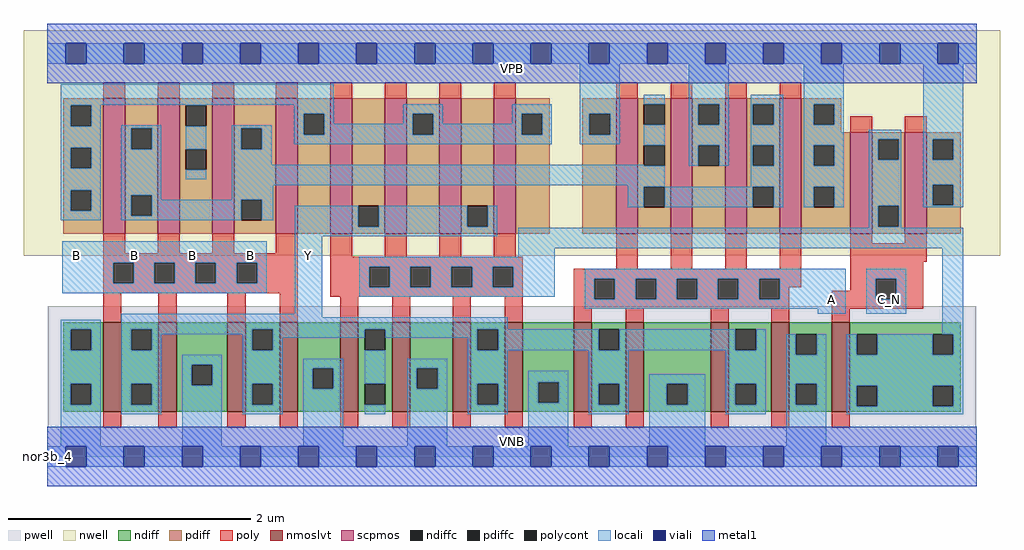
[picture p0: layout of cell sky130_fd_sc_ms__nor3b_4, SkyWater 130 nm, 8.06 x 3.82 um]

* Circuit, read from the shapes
.subckt sky130_fd_sc_ms__nor3b_4 A B C_N VGND VNB VPB VPWR Y
XM1 Y B VGND VNB sky130_fd_pr__nfet_01v8_lvt w=0.74 l=0.15 m=4
XM2 Y n1 VGND VNB sky130_fd_pr__nfet_01v8_lvt w=0.74 l=0.15 m=4
XM3 Y A VGND VNB sky130_fd_pr__nfet_01v8_lvt w=0.74 l=0.15 m=4
XM4 n1 C_N VGND VNB sky130_fd_pr__nfet_01v8_lvt w=0.74 l=0.15
XM5 n2 B n3 VPB sky130_fd_pr__pfet_01v8 w=1.12 l=0.18 m=4
XM6 Y n1 n3 VPB sky130_fd_pr__pfet_01v8 w=1.12 l=0.18 m=4
XM7 n2 A VPWR VPB sky130_fd_pr__pfet_01v8 w=1.12 l=0.18 m=4
XM8 n1 C_N VPWR VPB sky130_fd_pr__pfet_01v8 w=0.84 l=0.18 m=2
.ends

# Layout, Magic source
magic
tech sky130A
magscale 1 2
<< nwell >>
rect -38 332 1574 704
<< pwell >>
rect 1 49 1535 248
rect 0 0 1536 49
<< scpmos >>
rect 93 368 129 592
rect 183 368 219 592
rect 273 368 309 592
rect 378 368 414 592
rect 468 368 504 592
rect 558 368 594 592
rect 648 368 684 592
rect 738 368 774 592
rect 940 368 976 592
rect 1030 368 1066 592
rect 1120 368 1156 592
rect 1210 368 1246 592
rect 1327 368 1363 536
rect 1417 368 1453 536
<< nmoslvt >>
rect 93 74 123 222
rect 184 74 214 222
rect 298 74 328 222
rect 384 74 414 222
rect 484 74 514 222
rect 570 74 600 222
rect 670 74 700 222
rect 756 74 786 222
rect 870 74 900 222
rect 956 74 986 222
rect 1096 74 1126 222
rect 1196 74 1226 222
rect 1296 74 1326 222
<< ndiff >>
rect 27 210 93 222
rect 27 176 39 210
rect 73 176 93 210
rect 27 120 93 176
rect 27 86 39 120
rect 73 86 93 120
rect 27 74 93 86
rect 123 210 184 222
rect 123 176 139 210
rect 173 176 184 210
rect 123 120 184 176
rect 123 86 139 120
rect 173 86 184 120
rect 123 74 184 86
rect 214 152 298 222
rect 214 118 239 152
rect 273 118 298 152
rect 214 74 298 118
rect 328 210 384 222
rect 328 176 339 210
rect 373 176 384 210
rect 328 120 384 176
rect 328 86 339 120
rect 373 86 384 120
rect 328 74 384 86
rect 414 146 484 222
rect 414 112 439 146
rect 473 112 484 146
rect 414 74 484 112
rect 514 210 570 222
rect 514 176 525 210
rect 559 176 570 210
rect 514 120 570 176
rect 514 86 525 120
rect 559 86 570 120
rect 514 74 570 86
rect 600 146 670 222
rect 600 112 611 146
rect 645 112 670 146
rect 600 74 670 112
rect 700 210 756 222
rect 700 176 711 210
rect 745 176 756 210
rect 700 120 756 176
rect 700 86 711 120
rect 745 86 756 120
rect 700 74 756 86
rect 786 123 870 222
rect 786 89 811 123
rect 845 89 870 123
rect 786 74 870 89
rect 900 210 956 222
rect 900 176 911 210
rect 945 176 956 210
rect 900 120 956 176
rect 900 86 911 120
rect 945 86 956 120
rect 900 74 956 86
rect 986 120 1096 222
rect 986 86 1024 120
rect 1058 86 1096 120
rect 986 74 1096 86
rect 1126 210 1196 222
rect 1126 176 1137 210
rect 1171 176 1196 210
rect 1126 120 1196 176
rect 1126 86 1137 120
rect 1171 86 1196 120
rect 1126 74 1196 86
rect 1226 202 1296 222
rect 1226 168 1237 202
rect 1271 168 1296 202
rect 1226 120 1296 168
rect 1226 86 1237 120
rect 1271 86 1296 120
rect 1226 74 1296 86
rect 1326 202 1509 222
rect 1326 168 1337 202
rect 1371 168 1463 202
rect 1497 168 1509 202
rect 1326 117 1509 168
rect 1326 83 1337 117
rect 1371 83 1463 117
rect 1497 83 1509 117
rect 1326 74 1509 83
<< pdiff >>
rect 27 580 93 592
rect 27 546 39 580
rect 73 546 93 580
rect 27 510 93 546
rect 27 476 39 510
rect 73 476 93 510
rect 27 440 93 476
rect 27 406 39 440
rect 73 406 93 440
rect 27 368 93 406
rect 129 542 183 592
rect 129 508 139 542
rect 173 508 183 542
rect 129 432 183 508
rect 129 398 139 432
rect 173 398 183 432
rect 129 368 183 398
rect 219 580 273 592
rect 219 546 229 580
rect 263 546 273 580
rect 219 508 273 546
rect 219 474 229 508
rect 263 474 273 508
rect 219 368 273 474
rect 309 542 378 592
rect 309 508 321 542
rect 355 508 378 542
rect 309 424 378 508
rect 309 390 321 424
rect 355 390 378 424
rect 309 368 378 390
rect 414 566 468 592
rect 414 532 424 566
rect 458 532 468 566
rect 414 368 468 532
rect 504 414 558 592
rect 504 380 514 414
rect 548 380 558 414
rect 504 368 558 380
rect 594 566 648 592
rect 594 532 604 566
rect 638 532 648 566
rect 594 368 648 532
rect 684 414 738 592
rect 684 380 694 414
rect 728 380 738 414
rect 684 368 738 380
rect 774 566 830 592
rect 774 532 784 566
rect 818 532 830 566
rect 774 368 830 532
rect 884 566 940 592
rect 884 532 896 566
rect 930 532 940 566
rect 884 368 940 532
rect 976 582 1030 592
rect 976 548 986 582
rect 1020 548 1030 582
rect 976 514 1030 548
rect 976 480 986 514
rect 1020 480 1030 514
rect 976 446 1030 480
rect 976 412 986 446
rect 1020 412 1030 446
rect 976 368 1030 412
rect 1066 582 1120 592
rect 1066 548 1076 582
rect 1110 548 1120 582
rect 1066 514 1120 548
rect 1066 480 1076 514
rect 1110 480 1120 514
rect 1066 368 1120 480
rect 1156 582 1210 592
rect 1156 548 1166 582
rect 1200 548 1210 582
rect 1156 514 1210 548
rect 1156 480 1166 514
rect 1200 480 1210 514
rect 1156 446 1210 480
rect 1156 412 1166 446
rect 1200 412 1210 446
rect 1156 368 1210 412
rect 1246 582 1312 592
rect 1246 548 1266 582
rect 1300 548 1312 582
rect 1246 536 1312 548
rect 1246 514 1327 536
rect 1246 480 1266 514
rect 1300 480 1327 514
rect 1246 446 1327 480
rect 1246 412 1266 446
rect 1300 412 1327 446
rect 1246 368 1327 412
rect 1363 524 1417 536
rect 1363 490 1373 524
rect 1407 490 1417 524
rect 1363 414 1417 490
rect 1363 380 1373 414
rect 1407 380 1417 414
rect 1363 368 1417 380
rect 1453 524 1509 536
rect 1453 490 1463 524
rect 1497 490 1509 524
rect 1453 449 1509 490
rect 1453 415 1463 449
rect 1497 415 1509 449
rect 1453 368 1509 415
<< ndiffc >>
rect 39 176 73 210
rect 39 86 73 120
rect 139 176 173 210
rect 139 86 173 120
rect 239 118 273 152
rect 339 176 373 210
rect 339 86 373 120
rect 439 112 473 146
rect 525 176 559 210
rect 525 86 559 120
rect 611 112 645 146
rect 711 176 745 210
rect 711 86 745 120
rect 811 89 845 123
rect 911 176 945 210
rect 911 86 945 120
rect 1024 86 1058 120
rect 1137 176 1171 210
rect 1137 86 1171 120
rect 1237 168 1271 202
rect 1237 86 1271 120
rect 1337 168 1371 202
rect 1463 168 1497 202
rect 1337 83 1371 117
rect 1463 83 1497 117
<< pdiffc >>
rect 39 546 73 580
rect 39 476 73 510
rect 39 406 73 440
rect 139 508 173 542
rect 139 398 173 432
rect 229 546 263 580
rect 229 474 263 508
rect 321 508 355 542
rect 321 390 355 424
rect 424 532 458 566
rect 514 380 548 414
rect 604 532 638 566
rect 694 380 728 414
rect 784 532 818 566
rect 896 532 930 566
rect 986 548 1020 582
rect 986 480 1020 514
rect 986 412 1020 446
rect 1076 548 1110 582
rect 1076 480 1110 514
rect 1166 548 1200 582
rect 1166 480 1200 514
rect 1166 412 1200 446
rect 1266 548 1300 582
rect 1266 480 1300 514
rect 1266 412 1300 446
rect 1373 490 1407 524
rect 1373 380 1407 414
rect 1463 490 1497 524
rect 1463 415 1497 449
<< poly >>
rect 93 592 129 618
rect 183 592 219 618
rect 273 592 309 618
rect 378 592 414 618
rect 468 592 504 618
rect 558 592 594 618
rect 648 592 684 618
rect 738 592 774 618
rect 940 592 976 618
rect 1030 592 1066 618
rect 1120 592 1156 618
rect 1210 592 1246 618
rect 1327 536 1363 562
rect 1417 536 1453 562
rect 93 336 129 368
rect 183 336 219 368
rect 273 336 309 368
rect 378 336 414 368
rect 93 320 414 336
rect 93 286 109 320
rect 143 286 177 320
rect 211 286 245 320
rect 279 286 313 320
rect 347 286 414 320
rect 93 270 414 286
rect 93 222 123 270
rect 184 222 214 270
rect 298 222 328 270
rect 384 222 414 270
rect 468 330 504 368
rect 558 330 594 368
rect 648 330 684 368
rect 738 330 774 368
rect 468 314 786 330
rect 468 280 532 314
rect 566 280 600 314
rect 634 280 668 314
rect 702 280 736 314
rect 770 280 786 314
rect 940 310 976 368
rect 1030 310 1066 368
rect 1120 310 1156 368
rect 1210 310 1246 368
rect 468 264 786 280
rect 484 222 514 264
rect 570 222 600 264
rect 670 222 700 264
rect 756 222 786 264
rect 870 294 1246 310
rect 870 260 904 294
rect 938 260 972 294
rect 1006 260 1040 294
rect 1074 260 1108 294
rect 1142 260 1176 294
rect 1210 280 1246 294
rect 1327 352 1363 368
rect 1417 352 1453 368
rect 1327 322 1453 352
rect 1327 294 1447 322
rect 1210 260 1226 280
rect 1327 274 1369 294
rect 870 244 1226 260
rect 870 222 900 244
rect 956 222 986 244
rect 1096 222 1126 244
rect 1196 222 1226 244
rect 1296 260 1369 274
rect 1403 260 1447 294
rect 1296 244 1447 260
rect 1296 222 1326 244
rect 93 48 123 74
rect 184 48 214 74
rect 298 48 328 74
rect 384 48 414 74
rect 484 48 514 74
rect 570 48 600 74
rect 670 48 700 74
rect 756 48 786 74
rect 870 48 900 74
rect 956 48 986 74
rect 1096 48 1126 74
rect 1196 48 1226 74
rect 1296 48 1326 74
<< polycont >>
rect 109 286 143 320
rect 177 286 211 320
rect 245 286 279 320
rect 313 286 347 320
rect 532 280 566 314
rect 600 280 634 314
rect 668 280 702 314
rect 736 280 770 314
rect 904 260 938 294
rect 972 260 1006 294
rect 1040 260 1074 294
rect 1108 260 1142 294
rect 1176 260 1210 294
rect 1369 260 1403 294
<< locali >>
rect 0 649 31 683
rect 65 649 127 683
rect 161 649 223 683
rect 257 649 319 683
rect 353 649 415 683
rect 449 649 511 683
rect 545 649 607 683
rect 641 649 703 683
rect 737 649 799 683
rect 833 649 895 683
rect 929 649 991 683
rect 1025 649 1087 683
rect 1121 649 1183 683
rect 1217 649 1279 683
rect 1313 649 1375 683
rect 1409 649 1471 683
rect 1505 649 1536 683
rect 23 581 474 615
rect 23 580 89 581
rect 23 546 39 580
rect 73 546 89 580
rect 229 580 263 581
rect 23 510 89 546
rect 23 476 39 510
rect 73 476 89 510
rect 23 440 89 476
rect 23 406 39 440
rect 73 406 89 440
rect 23 390 89 406
rect 123 542 189 547
rect 123 508 139 542
rect 173 508 189 542
rect 123 432 189 508
rect 408 566 474 581
rect 229 508 263 546
rect 229 458 263 474
rect 305 542 371 547
rect 305 508 321 542
rect 355 508 371 542
rect 408 532 424 566
rect 458 550 474 566
rect 588 566 654 582
rect 588 550 604 566
rect 458 532 604 550
rect 638 550 654 566
rect 768 566 834 582
rect 768 550 784 566
rect 638 532 784 550
rect 818 532 834 566
rect 408 516 834 532
rect 880 566 946 649
rect 880 532 896 566
rect 930 532 946 566
rect 880 516 946 532
rect 986 582 1020 598
rect 305 482 371 508
rect 986 514 1020 548
rect 305 480 986 482
rect 1060 582 1126 649
rect 1060 548 1076 582
rect 1110 548 1126 582
rect 1060 514 1126 548
rect 1060 480 1076 514
rect 1110 480 1126 514
rect 1162 582 1216 598
rect 1162 548 1166 582
rect 1200 548 1216 582
rect 1162 514 1216 548
rect 1162 480 1166 514
rect 1200 480 1216 514
rect 123 398 139 432
rect 173 424 189 432
rect 305 448 1020 480
rect 305 424 374 448
rect 173 398 321 424
rect 123 390 321 398
rect 355 390 374 424
rect 959 446 1020 448
rect 1162 446 1216 480
rect 409 380 514 414
rect 548 380 694 414
rect 728 380 744 414
rect 959 412 986 446
rect 1020 412 1166 446
rect 1200 412 1216 446
rect 1250 582 1316 649
rect 1250 548 1266 582
rect 1300 548 1316 582
rect 1250 514 1316 548
rect 1250 480 1266 514
rect 1300 480 1316 514
rect 1250 446 1316 480
rect 1250 412 1266 446
rect 1300 412 1316 446
rect 1357 524 1411 540
rect 1357 490 1373 524
rect 1407 490 1411 524
rect 1357 414 1411 490
rect 409 364 744 380
rect 1357 380 1373 414
rect 1407 380 1411 414
rect 1447 524 1513 649
rect 1447 490 1463 524
rect 1497 490 1513 524
rect 1447 449 1513 490
rect 1447 415 1463 449
rect 1497 415 1513 449
rect 1447 412 1513 415
rect 1357 378 1411 380
rect 25 320 363 356
rect 25 286 109 320
rect 143 286 177 320
rect 211 286 245 320
rect 279 286 313 320
rect 347 286 363 320
rect 25 270 363 286
rect 409 236 455 364
rect 778 344 1513 378
rect 778 330 839 344
rect 516 314 839 330
rect 516 280 532 314
rect 566 280 600 314
rect 634 280 668 314
rect 702 280 736 314
rect 770 280 839 314
rect 516 264 839 280
rect 888 294 1319 310
rect 888 260 904 294
rect 938 260 972 294
rect 1006 260 1040 294
rect 1074 260 1108 294
rect 1142 260 1176 294
rect 1210 260 1319 294
rect 888 244 1319 260
rect 1273 236 1319 244
rect 1353 294 1419 310
rect 1353 260 1369 294
rect 1403 260 1419 294
rect 1353 236 1419 260
rect 123 230 455 236
rect 23 210 89 226
rect 23 176 39 210
rect 73 176 89 210
rect 23 120 89 176
rect 23 86 39 120
rect 73 86 89 120
rect 23 17 89 86
rect 123 210 761 230
rect 123 176 139 210
rect 173 202 339 210
rect 173 176 189 202
rect 123 120 189 176
rect 323 176 339 202
rect 373 196 525 210
rect 373 176 389 196
rect 123 86 139 120
rect 173 86 189 120
rect 123 70 189 86
rect 223 152 289 168
rect 223 118 239 152
rect 273 118 289 152
rect 223 17 289 118
rect 323 120 389 176
rect 559 196 711 210
rect 323 86 339 120
rect 373 86 389 120
rect 323 70 389 86
rect 423 146 489 162
rect 423 112 439 146
rect 473 112 489 146
rect 423 17 489 112
rect 525 120 559 176
rect 695 176 711 196
rect 745 176 911 210
rect 945 176 1137 210
rect 1171 176 1187 210
rect 1479 202 1513 344
rect 525 70 559 86
rect 595 146 661 162
rect 595 112 611 146
rect 645 112 661 146
rect 595 17 661 112
rect 695 120 761 176
rect 695 86 711 120
rect 745 86 761 120
rect 695 70 761 86
rect 795 123 861 142
rect 795 89 811 123
rect 845 89 861 123
rect 795 17 861 89
rect 895 120 961 176
rect 895 86 911 120
rect 945 86 961 120
rect 895 70 961 86
rect 995 120 1087 136
rect 995 86 1024 120
rect 1058 86 1087 120
rect 995 17 1087 86
rect 1121 120 1187 176
rect 1121 86 1137 120
rect 1171 86 1187 120
rect 1121 70 1187 86
rect 1221 168 1237 202
rect 1271 168 1287 202
rect 1221 120 1287 168
rect 1221 86 1237 120
rect 1271 86 1287 120
rect 1221 17 1287 86
rect 1321 168 1337 202
rect 1371 168 1463 202
rect 1497 168 1513 202
rect 1321 117 1513 168
rect 1321 83 1337 117
rect 1371 83 1463 117
rect 1497 83 1513 117
rect 1321 70 1513 83
rect 0 -17 31 17
rect 65 -17 127 17
rect 161 -17 223 17
rect 257 -17 319 17
rect 353 -17 415 17
rect 449 -17 511 17
rect 545 -17 607 17
rect 641 -17 703 17
rect 737 -17 799 17
rect 833 -17 895 17
rect 929 -17 991 17
rect 1025 -17 1087 17
rect 1121 -17 1183 17
rect 1217 -17 1279 17
rect 1313 -17 1375 17
rect 1409 -17 1471 17
rect 1505 -17 1536 17
<< viali >>
rect 31 649 65 683
rect 127 649 161 683
rect 223 649 257 683
rect 319 649 353 683
rect 415 649 449 683
rect 511 649 545 683
rect 607 649 641 683
rect 703 649 737 683
rect 799 649 833 683
rect 895 649 929 683
rect 991 649 1025 683
rect 1087 649 1121 683
rect 1183 649 1217 683
rect 1279 649 1313 683
rect 1375 649 1409 683
rect 1471 649 1505 683
rect 31 -17 65 17
rect 127 -17 161 17
rect 223 -17 257 17
rect 319 -17 353 17
rect 415 -17 449 17
rect 511 -17 545 17
rect 607 -17 641 17
rect 703 -17 737 17
rect 799 -17 833 17
rect 895 -17 929 17
rect 991 -17 1025 17
rect 1087 -17 1121 17
rect 1183 -17 1217 17
rect 1279 -17 1313 17
rect 1375 -17 1409 17
rect 1471 -17 1505 17
<< metal1 >>
rect 0 683 1536 715
rect 0 649 31 683
rect 65 649 127 683
rect 161 649 223 683
rect 257 649 319 683
rect 353 649 415 683
rect 449 649 511 683
rect 545 649 607 683
rect 641 649 703 683
rect 737 649 799 683
rect 833 649 895 683
rect 929 649 991 683
rect 1025 649 1087 683
rect 1121 649 1183 683
rect 1217 649 1279 683
rect 1313 649 1375 683
rect 1409 649 1471 683
rect 1505 649 1536 683
rect 0 617 1536 649
rect 0 17 1536 49
rect 0 -17 31 17
rect 65 -17 127 17
rect 161 -17 223 17
rect 257 -17 319 17
rect 353 -17 415 17
rect 449 -17 511 17
rect 545 -17 607 17
rect 641 -17 703 17
rect 737 -17 799 17
rect 833 -17 895 17
rect 929 -17 991 17
rect 1025 -17 1087 17
rect 1121 -17 1183 17
rect 1217 -17 1279 17
rect 1313 -17 1375 17
rect 1409 -17 1471 17
rect 1505 -17 1536 17
rect 0 -49 1536 -17
<< labels >>
flabel pwell s 0 0 1536 49 0 FreeSans 200 0 0 0 VNB
port 5 nsew ground bidirectional
flabel nwell s 0 617 1536 666 0 FreeSans 200 0 0 0 VPB
port 6 nsew power bidirectional
rlabel comment s 0 0 0 0 4 nor3b_4
flabel metal1 s 0 617 1536 666 0 FreeSans 340 0 0 0 VPWR
port 7 nsew power bidirectional
flabel metal1 s 0 0 1536 49 0 FreeSans 340 0 0 0 VGND
port 4 nsew ground bidirectional
flabel locali s 415 316 449 350 0 FreeSans 340 0 0 0 Y
port 8 nsew signal output
flabel locali s 1279 242 1313 276 0 FreeSans 340 0 0 0 A
port 1 nsew signal input
flabel locali s 31 316 65 350 0 FreeSans 340 0 0 0 B
port 2 nsew signal input
flabel locali s 127 316 161 350 0 FreeSans 340 0 0 0 B
port 2 nsew signal input
flabel locali s 223 316 257 350 0 FreeSans 340 0 0 0 B
port 2 nsew signal input
flabel locali s 319 316 353 350 0 FreeSans 340 0 0 0 B
port 2 nsew signal input
flabel locali s 1375 242 1409 276 0 FreeSans 340 0 0 0 C_N
port 3 nsew signal input
<< properties >>
string LEFsite unit
string LEFclass CORE
string FIXED_BBOX 0 0 1536 666
string GDS_FILE $PDKPATH/libs.ref/sky130_fd_sc_ms/gds/sky130_fd_sc_ms.gds
string LEFsymmetry X Y
string GDS_END 1105102
string GDS_START 1093756
<< end >>
